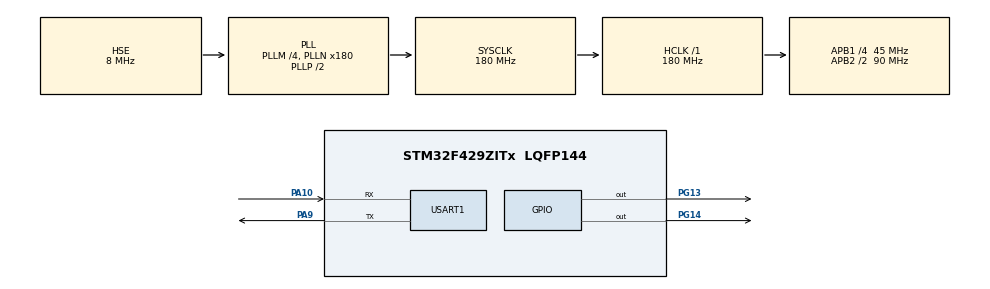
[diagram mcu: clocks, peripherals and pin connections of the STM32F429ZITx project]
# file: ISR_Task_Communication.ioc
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FREERTOS.Tasks01=defaultTask,0,128,StartDefaultTask,Default,NULL,Dynamic,NULL,NULL
Mcu.Family=STM32F4
Mcu.Name=STM32F429ZITx
Mcu.Package=LQFP144
NVIC.PriorityGroup=NVIC_PRIORITYGROUP_4
NVIC.TIM6_DAC_IRQn=true\:15\:0\:false\:false\:true\:false\:false\:true\:true
NVIC.TimeBase=TIM6_DAC_IRQn
NVIC.TimeBaseIP=TIM6
NVIC.USART1_IRQn=true\:7\:0\:true\:false\:true\:true\:true\:true\:true
PA10.Mode=Asynchronous
PA10.Signal=USART1_RX
PA9.Mode=Asynchronous
PA9.Signal=USART1_TX
PG13.Signal=GPIO_Output
PG14.Signal=GPIO_Output
PH0/OSC_IN.Mode=HSE-External-Oscillator
PH0/OSC_IN.Signal=RCC_OSC_IN
PH1/OSC_OUT.Mode=HSE-External-Oscillator
PH1/OSC_OUT.Signal=RCC_OSC_OUT
ProjectManager.HeapSize=0x200
ProjectManager.StackSize=0x400
ProjectManager.TargetToolchain=STM32CubeIDE
RCC.48MHZClocksFreq_Value=51428571.428571425
RCC.AHBFreq_Value=180000000
RCC.APB1CLKDivider=RCC_HCLK_DIV4
RCC.APB1Freq_Value=45000000
RCC.APB1TimFreq_Value=90000000
RCC.APB2CLKDivider=RCC_HCLK_DIV2
RCC.APB2Freq_Value=90000000
RCC.APB2TimFreq_Value=180000000
RCC.CortexFreq_Value=180000000
RCC.HCLKFreq_Value=180000000
RCC.HSE_VALUE=8000000
RCC.HSI_VALUE=16000000
RCC.LSE_VALUE=32768
RCC.PLLM=4
RCC.PLLN=180
RCC.PLLQ=7
RCC.PLLSourceVirtual=RCC_PLLSOURCE_HSE
RCC.SYSCLKFreq_VALUE=180000000
RCC.SYSCLKSource=RCC_SYSCLKSOURCE_PLLCLK
RCC.VCOOutputFreq_Value=360000000
USART1.VirtualMode=VM_ASYNC
VP_FREERTOS_VS_CMSIS_V1.Mode=CMSIS_V1
VP_SYS_VS_tim6.Mode=TIM6
board=STM32F429I-DISC1

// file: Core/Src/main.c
/* USER CODE BEGIN Header */
/**
  ******************************************************************************
  * @file           : main.c
  * @brief          : Main program body
  ******************************************************************************
  * @attention
  *
  * Copyright (c) 2025 STMicroelectronics.
  * All rights reserved.
  *
  * This software is licensed under terms that can be found in the LICENSE file
  * in the root directory of this software component.
  * If no LICENSE file comes with this software, it is provided AS-IS.
  *
  ******************************************************************************
  */
/* USER CODE END Header */
#include "main.h"

#include "FreeRTOS.h"
#include "task.h"
#include "stream_buffer.h"

#include "string.h"

UART_HandleTypeDef huart1;

void SystemClock_Config(void);
static void MX_GPIO_Init(void);
static void MX_USART1_UART_Init(void);

/* USER CODE BEGIN 0 */

uint8_t rx_data = 0; // Variable to store UART received data

/* *********************** Stream Buffer Configurations ************************ */
#define STREAM_BUFFER_SIZE 64
#define TRIGGER_LEVEL	   1

/* ****************************** Stream Buffer Handle ************************* */
StreamBufferHandle_t StreamBuffer_Handle;

void ConsumerTask(void *pvParameters)
{
	char rxBuffer[32];
	for(;;)
	{
		size_t bytesReceived = xStreamBufferReceive( //  Receive data from the stream buffer
				StreamBuffer_Handle,
				(void*)rxBuffer,
				sizeof(rxBuffer),
				portMAX_DELAY );

		if (bytesReceived > 0) {
			HAL_GPIO_TogglePin(GPIOG, GPIO_PIN_13); // Toggle LED on successful Receive (Consumer)
			HAL_UART_Transmit(&huart1, (uint8_t*)rxBuffer, bytesReceived, HAL_MAX_DELAY);
		}
	}
}

// This callback is called by the HAL_UART_IRQHandler when the UART receive interrupt occurs
void HAL_UART_RxCpltCallback(UART_HandleTypeDef* huart)
{

	const char *msg = "\nUART Received\n";

	if(rx_data == 'r')
	{
		BaseType_t xHigherPriorityTaskWoken = pdFALSE;

		// Send data to the stream buffer from ISR
		xStreamBufferSendFromISR(
				StreamBuffer_Handle,
				(void*) msg,
				strlen(msg),
				&xHigherPriorityTaskWoken);

		HAL_GPIO_TogglePin(GPIOG, GPIO_PIN_14);

		portEND_SWITCHING_ISR(xHigherPriorityTaskWoken);
	}

    // Restart UART Reception in Interrupt mode
	HAL_UART_Receive_IT(huart, &rx_data, 1);
}

/* USER CODE END 0 */

int main(void)
{

  /* MCU Configuration--------------------------------------------------------*/

  /* Reset of all peripherals, Initializes the Flash interface and the Systick. */
  HAL_Init();

  /* Configure the system clock */
  SystemClock_Config();

  /* Initialize all configured peripherals */
  MX_GPIO_Init();
  MX_USART1_UART_Init();
  /* USER CODE BEGIN 2 */

  /* ************************** Create Stream Buffer ************************** */
  StreamBuffer_Handle = xStreamBufferCreate(STREAM_BUFFER_SIZE, TRIGGER_LEVEL);
  if(StreamBuffer_Handle == NULL)
  {
	  HAL_UART_Transmit(&huart1, (uint8_t *)"Stream Buffer Creation Failed\r\n", 30, HAL_MAX_DELAY);
  }else{
	  HAL_UART_Transmit(&huart1, (uint8_t *)"Stream Buffer Created Successfully\r\n", 37, HAL_MAX_DELAY);
  }

  /* ************************** Create Consumer Task ************************** */
  xTaskCreate(ConsumerTask, "ConsumerTask", 256, NULL, 2, NULL);

  /* Start UART Reception in Interrupt mode */
  HAL_UART_Receive_IT(&huart1, &rx_data, 1);

  vTaskStartScheduler();

  /* USER CODE END 2 */

  /* We should never get here as control is now taken by the scheduler */

  /* Infinite loop */
  while (1)
  {

  }
}

void SystemClock_Config(void)
{
  RCC_OscInitTypeDef RCC_OscInitStruct = {0};
  RCC_ClkInitTypeDef RCC_ClkInitStruct = {0};

  /** Configure the main internal regulator output voltage
  */
  __HAL_RCC_PWR_CLK_ENABLE();
  __HAL_PWR_VOLTAGESCALING_CONFIG(PWR_REGULATOR_VOLTAGE_SCALE1);

  /** Initializes the RCC Oscillators according to the specified parameters
  * in the RCC_OscInitTypeDef structure.
  */
  RCC_OscInitStruct.OscillatorType = RCC_OSCILLATORTYPE_HSE;
  RCC_OscInitStruct.HSEState = RCC_HSE_ON;
  RCC_OscInitStruct.PLL.PLLState = RCC_PLL_ON;
  RCC_OscInitStruct.PLL.PLLSource = RCC_PLLSOURCE_HSE;
  RCC_OscInitStruct.PLL.PLLM = 4;
  RCC_OscInitStruct.PLL.PLLN = 180;
  RCC_OscInitStruct.PLL.PLLP = RCC_PLLP_DIV2;
  RCC_OscInitStruct.PLL.PLLQ = 7;
  if (HAL_RCC_OscConfig(&RCC_OscInitStruct) != HAL_OK)
  {
    Error_Handler();
  }

  /** Activate the Over-Drive mode
  */
  if (HAL_PWREx_EnableOverDrive() != HAL_OK)
  {
    Error_Handler();
  }

  /** Initializes the CPU, AHB and APB buses clocks
  */
  RCC_ClkInitStruct.ClockType = RCC_CLOCKTYPE_HCLK|RCC_CLOCKTYPE_SYSCLK
                              |RCC_CLOCKTYPE_PCLK1|RCC_CLOCKTYPE_PCLK2;
  RCC_ClkInitStruct.SYSCLKSource = RCC_SYSCLKSOURCE_PLLCLK;
  RCC_ClkInitStruct.AHBCLKDivider = RCC_SYSCLK_DIV1;
  RCC_ClkInitStruct.APB1CLKDivider = RCC_HCLK_DIV4;
  RCC_ClkInitStruct.APB2CLKDivider = RCC_HCLK_DIV2;

  if (HAL_RCC_ClockConfig(&RCC_ClkInitStruct, FLASH_LATENCY_5) != HAL_OK)
  {
    Error_Handler();
  }
}

static void MX_USART1_UART_Init(void)
{

  huart1.Instance = USART1;
  huart1.Init.BaudRate = 115200;
  huart1.Init.WordLength = UART_WORDLENGTH_8B;
  huart1.Init.StopBits = UART_STOPBITS_1;
  huart1.Init.Parity = UART_PARITY_NONE;
  huart1.Init.Mode = UART_MODE_TX_RX;
  huart1.Init.HwFlowCtl = UART_HWCONTROL_NONE;
  huart1.Init.OverSampling = UART_OVERSAMPLING_16;
  if (HAL_UART_Init(&huart1) != HAL_OK)
  {
    Error_Handler();
  }

}

static void MX_GPIO_Init(void)
{
  GPIO_InitTypeDef GPIO_InitStruct = {0};

  /* GPIO Ports Clock Enable */
  __HAL_RCC_GPIOH_CLK_ENABLE();
  __HAL_RCC_GPIOA_CLK_ENABLE();
  __HAL_RCC_GPIOG_CLK_ENABLE();

  /*Configure GPIO pin Output Level */
  HAL_GPIO_WritePin(GPIOG, GPIO_PIN_13|GPIO_PIN_14, GPIO_PIN_RESET);

  /*Configure GPIO pins : PG13 PG14 */
  GPIO_InitStruct.Pin = GPIO_PIN_13|GPIO_PIN_14;
  GPIO_InitStruct.Mode = GPIO_MODE_OUTPUT_PP;
  GPIO_InitStruct.Pull = GPIO_NOPULL;
  GPIO_InitStruct.Speed = GPIO_SPEED_FREQ_LOW;
  HAL_GPIO_Init(GPIOG, &GPIO_InitStruct);

}

void HAL_TIM_PeriodElapsedCallback(TIM_HandleTypeDef *htim)
{
  if (htim->Instance == TIM6)
  {
    HAL_IncTick();
  }
}

void Error_Handler(void)
{
  __disable_irq();
  while (1)
  {
  }
}
